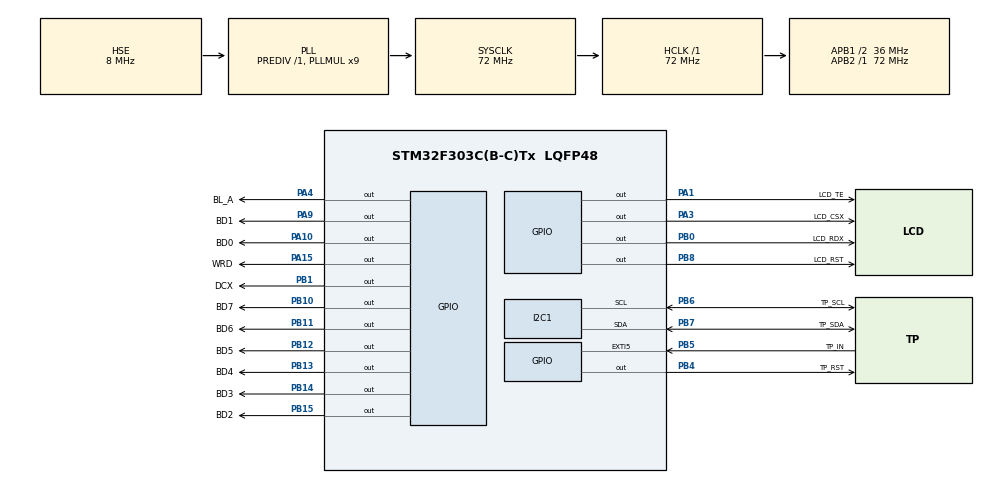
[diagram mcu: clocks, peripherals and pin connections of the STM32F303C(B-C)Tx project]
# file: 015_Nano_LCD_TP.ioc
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Mcu.Family=STM32F3
Mcu.Name=STM32F303C(B-C)Tx
Mcu.Package=LQFP48
NVIC.EXTI9_5_IRQn=true\:0\:0\:false\:false\:true\:true\:true\:true
NVIC.PriorityGroup=NVIC_PRIORITYGROUP_4
PA1.GPIO_Label=LCD_TE
PA1.Signal=GPIO_Output
PA10.GPIO_Label=BD0
PA10.Signal=GPIO_Output
PA15.GPIO_Label=WRD
PA15.Signal=GPIO_Output
PA3.GPIO_Label=LCD_CSX
PA3.Signal=GPIO_Output
PA4.GPIO_Label=BL_A
PA4.Signal=GPIO_Output
PA9.GPIO_Label=BD1
PA9.Signal=GPIO_Output
PB0.GPIO_Label=LCD_RDX
PB0.Signal=GPIO_Output
PB1.GPIO_Label=DCX
PB1.Signal=GPIO_Output
PB10.GPIO_Label=BD7
PB10.Signal=GPIO_Output
PB11.GPIO_Label=BD6
PB11.Signal=GPIO_Output
PB12.GPIO_Label=BD5
PB12.Signal=GPIO_Output
PB13.GPIO_Label=BD4
PB13.Signal=GPIO_Output
PB14.GPIO_Label=BD3
PB14.Signal=GPIO_Output
PB15.GPIO_Label=BD2
PB15.Signal=GPIO_Output
PB4.GPIO_Label=TP_RST
PB4.Signal=GPIO_Output
PB5.GPIO_Label=TP_IN
PB5.Signal=GPXTI5
PB6.GPIO_Label=TP_SCL
PB6.Mode=I2C
PB6.Signal=I2C1_SCL
PB7.GPIO_Label=TP_SDA
PB7.Mode=I2C
PB7.Signal=I2C1_SDA
PB8.GPIO_Label=LCD_RST
PB8.Signal=GPIO_Output
PF0-OSC_IN.Mode=HSE-External-Oscillator
PF0-OSC_IN.Signal=RCC_OSC_IN
PF1-OSC_OUT.Mode=HSE-External-Oscillator
PF1-OSC_OUT.Signal=RCC_OSC_OUT
ProjectManager.HeapSize=0x400
ProjectManager.StackSize=0x600
ProjectManager.TargetToolchain=STM32CubeIDE
RCC.AHBFreq_Value=72000000
RCC.APB1CLKDivider=RCC_HCLK_DIV2
RCC.APB1Freq_Value=36000000
RCC.APB1TimFreq_Value=72000000
RCC.APB2Freq_Value=72000000
RCC.APB2TimFreq_Value=72000000
RCC.CortexFreq_Value=72000000
RCC.HCLKFreq_Value=72000000
RCC.HSE_VALUE=8000000
RCC.HSI_VALUE=8000000
RCC.LSE_VALUE=32768
RCC.PLLMUL=RCC_PLL_MUL9
RCC.PLLSourceVirtual=RCC_PLLSOURCE_HSE
RCC.SYSCLKFreq_VALUE=72000000
RCC.SYSCLKSourceVirtual=RCC_SYSCLKSOURCE_PLLCLK
RCC.USBFreq_Value=72000000
board=custom

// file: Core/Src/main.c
/* USER CODE BEGIN Header */
/**
  ******************************************************************************
  * @file           : main.c
  * @brief          : Main program body
  ******************************************************************************
  * @attention
  *
  * Copyright (c) 2024 STMicroelectronics.
  * All rights reserved.
  *
  * This software is licensed under terms that can be found in the LICENSE file
  * in the root directory of this software component.
  * If no LICENSE file comes with this software, it is provided AS-IS.
  *
  ******************************************************************************
  */
/* USER CODE END Header */
#include "main.h"

/* USER CODE BEGIN Includes */
#include <string.h>
#include <stdio.h>
#include "GC9A01A.h"
#include "CST816S.h"
#include "font.h"
#include "image.h"
/* USER CODE END Includes */

I2C_HandleTypeDef hi2c1;

void SystemClock_Config(void);
static void MX_GPIO_Init(void);
static void MX_I2C1_Init(void);
/* USER CODE BEGIN PFP */
static void display_vibgyor_sequence();
static void display_gesture(void);
/* USER CODE END PFP */

int main(void)
{

  /* MCU Configuration--------------------------------------------------------*/

  /* Reset of all peripherals, Initializes the Flash interface and the Systick. */
  HAL_Init();

  /* Configure the system clock */
  SystemClock_Config();

  /* Initialize all configured peripherals */
  MX_GPIO_Init();
  MX_I2C1_Init();
  /* USER CODE BEGIN 2 */
  bsp_lcd_init();
  CST816S_init();

  display_vibgyor_sequence();
  HAL_Delay(1000);
  //gc9a01a_lcd_fill_image(image1);
  gc9a01a_lcd_fill_image(image2);
  //gc9a01a_lcd_fill_image(image3);
  /* USER CODE END 2 */

  /* Infinite loop */
  while (1)
  {

    /* USER CODE BEGIN 3 */
    display_gesture();
  }
  /* USER CODE END 3 */
}

void SystemClock_Config(void)
{
  RCC_OscInitTypeDef RCC_OscInitStruct = {0};
  RCC_ClkInitTypeDef RCC_ClkInitStruct = {0};
  RCC_PeriphCLKInitTypeDef PeriphClkInit = {0};

  /** Initializes the RCC Oscillators according to the specified parameters
  * in the RCC_OscInitTypeDef structure.
  */
  RCC_OscInitStruct.OscillatorType = RCC_OSCILLATORTYPE_HSI|RCC_OSCILLATORTYPE_HSE;
  RCC_OscInitStruct.HSEState = RCC_HSE_ON;
  RCC_OscInitStruct.HSEPredivValue = RCC_HSE_PREDIV_DIV1;
  RCC_OscInitStruct.HSIState = RCC_HSI_ON;
  RCC_OscInitStruct.HSICalibrationValue = RCC_HSICALIBRATION_DEFAULT;
  RCC_OscInitStruct.PLL.PLLState = RCC_PLL_ON;
  RCC_OscInitStruct.PLL.PLLSource = RCC_PLLSOURCE_HSE;
  RCC_OscInitStruct.PLL.PLLMUL = RCC_PLL_MUL9;
  if (HAL_RCC_OscConfig(&RCC_OscInitStruct) != HAL_OK)
  {
    Error_Handler();
  }

  /** Initializes the CPU, AHB and APB buses clocks
  */
  RCC_ClkInitStruct.ClockType = RCC_CLOCKTYPE_HCLK|RCC_CLOCKTYPE_SYSCLK
                              |RCC_CLOCKTYPE_PCLK1|RCC_CLOCKTYPE_PCLK2;
  RCC_ClkInitStruct.SYSCLKSource = RCC_SYSCLKSOURCE_PLLCLK;
  RCC_ClkInitStruct.AHBCLKDivider = RCC_SYSCLK_DIV1;
  RCC_ClkInitStruct.APB1CLKDivider = RCC_HCLK_DIV2;
  RCC_ClkInitStruct.APB2CLKDivider = RCC_HCLK_DIV1;

  if (HAL_RCC_ClockConfig(&RCC_ClkInitStruct, FLASH_LATENCY_2) != HAL_OK)
  {
    Error_Handler();
  }
  PeriphClkInit.PeriphClockSelection = RCC_PERIPHCLK_I2C1;
  PeriphClkInit.I2c1ClockSelection = RCC_I2C1CLKSOURCE_HSI;
  if (HAL_RCCEx_PeriphCLKConfig(&PeriphClkInit) != HAL_OK)
  {
    Error_Handler();
  }
}

static void MX_I2C1_Init(void)
{

  hi2c1.Instance = I2C1;
  hi2c1.Init.Timing = 0x2000090E;
  hi2c1.Init.OwnAddress1 = 0;
  hi2c1.Init.AddressingMode = I2C_ADDRESSINGMODE_7BIT;
  hi2c1.Init.DualAddressMode = I2C_DUALADDRESS_DISABLE;
  hi2c1.Init.OwnAddress2 = 0;
  hi2c1.Init.OwnAddress2Masks = I2C_OA2_NOMASK;
  hi2c1.Init.GeneralCallMode = I2C_GENERALCALL_DISABLE;
  hi2c1.Init.NoStretchMode = I2C_NOSTRETCH_DISABLE;
  if (HAL_I2C_Init(&hi2c1) != HAL_OK)
  {
    Error_Handler();
  }

  /** Configure Analogue filter
  */
  if (HAL_I2CEx_ConfigAnalogFilter(&hi2c1, I2C_ANALOGFILTER_ENABLE) != HAL_OK)
  {
    Error_Handler();
  }

  /** Configure Digital filter
  */
  if (HAL_I2CEx_ConfigDigitalFilter(&hi2c1, 0) != HAL_OK)
  {
    Error_Handler();
  }

}

static void MX_GPIO_Init(void)
{
  GPIO_InitTypeDef GPIO_InitStruct = {0};

  /* GPIO Ports Clock Enable */
  __HAL_RCC_GPIOF_CLK_ENABLE();
  __HAL_RCC_GPIOA_CLK_ENABLE();
  __HAL_RCC_GPIOB_CLK_ENABLE();

  /*Configure GPIO pin Output Level */
  HAL_GPIO_WritePin(GPIOA, LCD_TE_Pin|LCD_CSX_Pin|BL_A_Pin|BD1_Pin
                          |BD0_Pin|WRD_Pin, GPIO_PIN_RESET);

  /*Configure GPIO pin Output Level */
  HAL_GPIO_WritePin(GPIOB, LCD_RDX_Pin|DCX_Pin|BD7_Pin|BD6_Pin
                          |BD5_Pin|BD4_Pin|BD3_Pin|BD2_Pin
                          |TP_RST_Pin|LCD_RST_Pin, GPIO_PIN_RESET);

  /*Configure GPIO pins : LCD_TE_Pin LCD_CSX_Pin BL_A_Pin BD1_Pin
                           BD0_Pin WRD_Pin */
  GPIO_InitStruct.Pin = LCD_TE_Pin|LCD_CSX_Pin|BL_A_Pin|BD1_Pin
                          |BD0_Pin|WRD_Pin;
  GPIO_InitStruct.Mode = GPIO_MODE_OUTPUT_PP;
  GPIO_InitStruct.Pull = GPIO_NOPULL;
  GPIO_InitStruct.Speed = GPIO_SPEED_FREQ_LOW;
  HAL_GPIO_Init(GPIOA, &GPIO_InitStruct);

  /*Configure GPIO pins : LCD_RDX_Pin DCX_Pin BD7_Pin BD6_Pin
                           BD5_Pin BD4_Pin BD3_Pin BD2_Pin
                           TP_RST_Pin LCD_RST_Pin */
  GPIO_InitStruct.Pin = LCD_RDX_Pin|DCX_Pin|BD7_Pin|BD6_Pin
                          |BD5_Pin|BD4_Pin|BD3_Pin|BD2_Pin
                          |TP_RST_Pin|LCD_RST_Pin;
  GPIO_InitStruct.Mode = GPIO_MODE_OUTPUT_PP;
  GPIO_InitStruct.Pull = GPIO_NOPULL;
  GPIO_InitStruct.Speed = GPIO_SPEED_FREQ_LOW;
  HAL_GPIO_Init(GPIOB, &GPIO_InitStruct);

  /*Configure GPIO pin : TP_IN_Pin */
  GPIO_InitStruct.Pin = TP_IN_Pin;
  GPIO_InitStruct.Mode = GPIO_MODE_IT_RISING;
  GPIO_InitStruct.Pull = GPIO_NOPULL;
  HAL_GPIO_Init(TP_IN_GPIO_Port, &GPIO_InitStruct);

  /* EXTI interrupt init*/
  HAL_NVIC_SetPriority(EXTI9_5_IRQn, 0, 0);
  HAL_NVIC_EnableIRQ(EXTI9_5_IRQn);

}

/* USER CODE BEGIN 4 */
/**
  * @brief  Displays a VIBGYOR color sequence on the LCD.
  *         This function assumes VIOLET, INDIGO, BLUE, GREEN, YELLOW, ORANGE, and RED are defined color values.
  * @retval None
  */
static void display_vibgyor_sequence() {
  uint8_t x_start = 0;
  uint8_t x_width = 240;
  uint8_t y_height = 34;
  gc9a01a_fill_rect(x_start, x_width, y_height*0, y_height, VIOLET);
  gc9a01a_fill_rect(x_start, x_width, y_height*1, y_height, INDIGO);
  gc9a01a_fill_rect(x_start, x_width, y_height*2, y_height, BLUE);
  gc9a01a_fill_rect(x_start, x_width, y_height*3, y_height, GREEN);
  gc9a01a_fill_rect(x_start, x_width, y_height*4, y_height, YELLOW);
  gc9a01a_fill_rect(x_start, x_width, y_height*5, y_height, ORANGE );
  gc9a01a_fill_rect(x_start, x_width, y_height*6, y_height, RED);
}

/**
  * @brief  Prints a string on the LCD at a specified position and with specified colors.
  * @param  str: Pointer to the null-terminated string to be printed.
  * @retval None
  */
static void bsp_lcd_print(const char* str) {
  gc9a01a_write_string(24, 107, str, Font_16x26, RED, BLACK);
}

/**
  * @brief  Continuously reads and displays gestures from the CST816S touch sensor on the LCD.
  * @retval None
  */
static void display_gesture(void) {
  CST816S_init();
  struct touch_data data;
  while(1) {
    if(CST816S_data_available()) {
      memcpy(&data, CST816S_get_data(), sizeof(struct touch_data));
      UNUSED(data);
      bsp_lcd_print(CST816S_gesture());
      HAL_Delay(300);
    }
  }
}

/* USER CODE END 4 */

void Error_Handler(void)
{
  __disable_irq();
  while (1)
  {
  }
}
